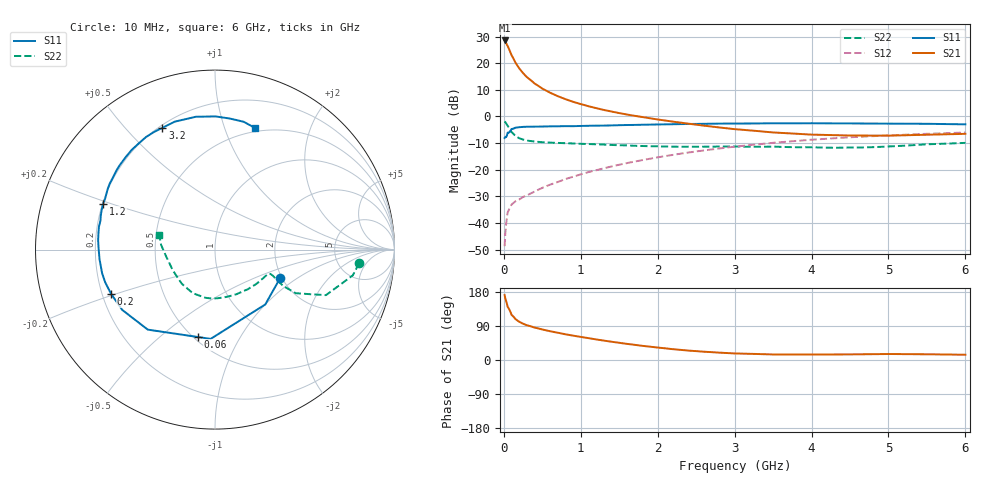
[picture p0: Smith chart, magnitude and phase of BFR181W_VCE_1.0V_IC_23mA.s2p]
! Infineon Technologies  Discrete & RF Semiconductors
! BFR181W
! VCE =  1.0 V,  IC =  23 mA
! Common Emitter S-Parameters:  Jan 2017
# GHz  S  MA  R  50
!  f  S11  S21  S12  S22
! GHz  MAG  ANG  MAG  ANG  MAG  ANG  MAG  ANG
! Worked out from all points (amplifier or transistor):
!   77 points, 10 MHz to 6 GHz, reference 50 ohm
!   highest |S21| = 28.5 dB at 10 MHz (marker M1)
!   |S21| within 3 dB of that: start of sweep to 63.7 MHz
!   unconditionally stable (mu >= 1): start of sweep to 17.72 MHz; 187.8 MHz to end of sweep
!   at 130 MHz: K = 0.79, MSG = 26.9 dB, |S12| = -32.3 dB
!   at 2.2 GHz: K = 1.39, MAG = 2.5 dB, |S12| = -14.4 dB
!   at 6 GHz: K = 1.27, MAG = -3.3 dB, |S12| = -6.0 dB
!   S11 on the Smith chart (normalised r, x): 10 MHz: 1.95, -0.74; 60 MHz: 0.53, -0.68; 200 MHz: 0.24, -0.19; 1.2 GHz: 0.20, +0.19; 3.2 GHz: 0.21, +0.64; 6 GHz: 0.46, +1.28
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0.01  0.396 -23.9  26.66 171.5  0.0037 67.5  0.8066 -5.4
0.02  0.4146 -47.5  25.73 161.9  0.0066 74.7  0.7809 -10.6
0.05  0.4981 -92.8  20.94 140.3  0.0159 59.9  0.6684 -22.3
0.06  0.4962 -101.0  19.42 137.3  0.0171 56.8  0.6364 -23.3
0.1  0.5822 -130.0  14.17 119.1  0.0222 47.7  0.5106 -28.4
0.15  0.6166 -147.0  10.31 108.1  0.0256 45.8  0.4322 -28.1
0.2  0.6293 -156.9  7.981 100.8  0.0278 47.7  0.3912 -26.5
0.25  0.6385 -163.5  6.5 95.7  0.031 50.0  0.3691 -25.3
0.3  0.6426 -168.2  5.463 91.7  0.0331 52.0  0.3539 -24.3
0.4  0.6455 -175.1  4.155 85.5  0.0391 57.0  0.3387 -23.7
0.5  0.6483 179.7  3.339 80.5  0.0459 60.7  0.3298 -24.2
0.6  0.653 175.7  2.799 76.0  0.0526 63.6  0.3237 -25.3
0.8  0.6591 168.9  2.116 67.9  0.067 68.1  0.3157 -28.6
1.1  0.6695 160.4  1.559 57.7  0.0906 71.1  0.3046 -35.5
1.2  0.6736 157.7  1.435 54.3  0.0982 71.0  0.301 -38.1
1.6  0.6921 148.0  1.089 42.6  0.1337 71.3  0.287 -50.2
2.1  0.712 136.3  0.839 30.8  0.1811 68.8  0.2734 -68.1
3.1  0.7382 115.4  0.564 16.8  0.2811 59.1  0.2718 -104.4
3.2  0.7391 113.4  0.548 16.3  0.2908 57.9  0.2708 -107.5
4.1  0.7453 96.5  0.454 14.6  0.3745 46.9  0.2623 -138.0
5.1  0.7331 82.3  0.441 15.7  0.4484 34.6  0.2784 -174.5
6  0.713 71.6  0.473 13.9  0.5009 24.4  0.3203 165.8
